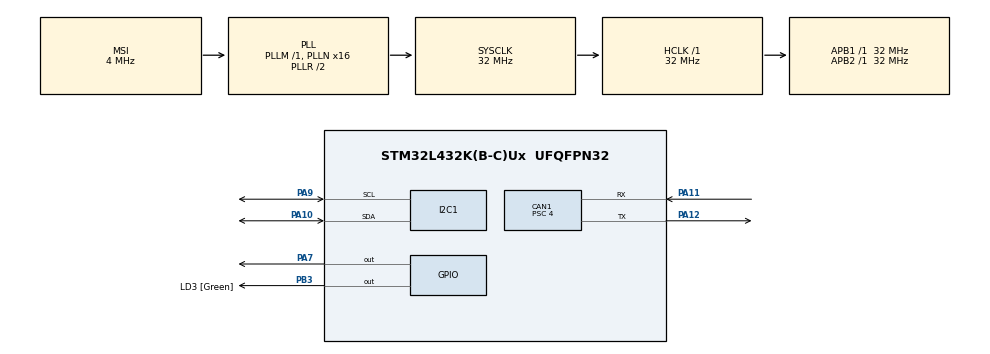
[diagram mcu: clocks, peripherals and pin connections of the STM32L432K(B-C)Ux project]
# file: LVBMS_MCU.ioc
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CAN1.ABOM=ENABLE
CAN1.AWUM=ENABLE
CAN1.BS1=CAN_BS1_13TQ
CAN1.BS2=CAN_BS2_2TQ
CAN1.CalculateBaudRate=500000
CAN1.CalculateTimeBit=2000
CAN1.CalculateTimeQuantum=125.0
CAN1.Mode=CAN_MODE_NORMAL
CAN1.NART=DISABLE
CAN1.Prescaler=4
FREERTOS.Tasks01=defaultTask,8,128,StartDefaultTask,Default,NULL,Dynamic,NULL,NULL
I2C1.Timing=0x00B07CB4
Mcu.Family=STM32L4
Mcu.Name=STM32L432K(B-C)Ux
Mcu.Package=UFQFPN32
NVIC.CAN1_RX0_IRQn=true\:5\:0\:false\:false\:true\:true\:true\:true\:true
NVIC.CAN1_SCE_IRQn=true\:5\:0\:false\:false\:true\:true\:true\:true\:true
NVIC.PriorityGroup=NVIC_PRIORITYGROUP_4
NVIC.TIM1_UP_TIM16_IRQn=true\:15\:0\:false\:false\:true\:false\:false\:true\:true
NVIC.TimeBase=TIM1_UP_TIM16_IRQn
NVIC.TimeBaseIP=TIM1
PA10.Mode=I2C
PA10.Signal=I2C1_SDA
PA11.Mode=CAN_Activate
PA11.Signal=CAN1_RX
PA12.Mode=CAN_Activate
PA12.Signal=CAN1_TX
PA13\ (JTMS-SWDIO).GPIO_Label=SWDIO
PA13\ (JTMS-SWDIO).Signal=SYS_JTMS-SWDIO
PA14\ (JTCK-SWCLK).GPIO_Label=SWCLK
PA14\ (JTCK-SWCLK).Signal=SYS_JTCK-SWCLK
PA15\ (JTDI).GPIO_Label=VCP_RX
PA15\ (JTDI).Signal=USART2_RX
PA2.GPIO_Label=VCP_TX
PA2.Signal=USART2_TX
PA7.Signal=GPIO_Output
PA9.Mode=I2C
PA9.Signal=I2C1_SCL
PB3\ (JTDO-TRACESWO).GPIO_Label=LD3 [Green]
PB3\ (JTDO-TRACESWO).Signal=GPIO_Output
ProjectManager.HeapSize=0x200
ProjectManager.StackSize=0x400
ProjectManager.TargetToolchain=Makefile
RCC.AHBFreq_Value=32000000
RCC.APB1Freq_Value=32000000
RCC.APB1TimFreq_Value=32000000
RCC.APB2Freq_Value=32000000
RCC.APB2TimFreq_Value=32000000
RCC.CortexFreq_Value=32000000
RCC.HCLKFreq_Value=32000000
RCC.HSE_VALUE=8000000
RCC.HSI16_VALUE=16000000
RCC.HSI48_VALUE=48000000
RCC.HSI_VALUE=16000000
RCC.LSE_VALUE=32768
RCC.MSI_VALUE=4000000
RCC.PLLMUL=RCC_PLLMUL_4
RCC.PLLN=16
RCC.SYSCLKFreq_VALUE=32000000
RCC.SYSCLKSource=RCC_SYSCLKSOURCE_PLLCLK
RCC.VCOOutputFreq_Value=64000000
VP_FREERTOS_VS_CMSIS_V2.Mode=CMSIS_V2
VP_SYS_VS_tim1.Mode=TIM1
board=NUCLEO-L432KC

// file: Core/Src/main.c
/* USER CODE BEGIN Header */
/**
  ******************************************************************************
  * @file           : main.c
  * @brief          : Main program body
  ******************************************************************************
  * @attention
  *
  * Copyright (c) 2024 STMicroelectronics.
  * All rights reserved.
  *
  * This software is licensed under terms that can be found in the LICENSE file
  * in the root directory of this software component.
  * If no LICENSE file comes with this software, it is provided AS-IS.
  *
  ******************************************************************************
  */
/* USER CODE END Header */
#include "main.h"
#include "can.h"
#include "cmsis_os.h"
#include "i2c.h"

/* USER CODE BEGIN Includes */
#include "BQ76905.h"
#include "custom_tasks.h"
#include "gpio.h"
#include "task.h"
/* USER CODE END Includes */

/* USER CODE BEGIN PV */
SemaphoreHandle_t i2cMutexHandle;
/* USER CODE END PV */

void SystemClock_Config(void);
void MX_FREERTOS_Init(void);
/* USER CODE BEGIN PFP */
void Unseal(void);
/* USER CODE END PFP */

int main(void)
{
  /* MCU Configuration--------------------------------------------------------*/

  /* Reset of all peripherals, Initializes the Flash interface and the Systick. */
  HAL_Init();

  /* Configure the system clock */
  SystemClock_Config();

  /* Initialize all configured peripherals */
  MX_GPIO_Init();
  MX_CAN1_Init();
  MX_I2C1_Init();

  /* USER CODE BEGIN 1 */
  i2cMutexHandle = xSemaphoreCreateMutex();

  canInit(CAN_TX_QUEUE_SIZE, CAN_RX_QUEUE_SIZE);

  Unseal();

  /********************* CHANGING DEVICE CONFIGURATION (TRM 63) *********************/

  // Command_Subcommand(BQ76905_RESET);

  BQ7690x_Disable_FETS;

  // enable cfg update
  Command_Subcommand(SET_CFGUPDATE);

  // disable ts pin as external termistor
  Subcommand_Write(DAConfig, 0b10000000);

  // TODO:
  // Body Diode Threshold

  // 1/8 speed measurements while balancing
  // auto enters sleep when current < 64mA, config "Sleep Current"
  Subcommand_Write(PowerConfig, 0b00110001);

  // default is tuned for 1 milli Ohm
  // we are using a 25 milli Ohm sens resistor
  Subcommand_Write2(CC1Gain, 10);
  // Subcommand_Write2(CurrOffset, 0x100);

  // enables manual and autonomous control, and series fets
  Subcommand_Write(FETOptions, 0b01111100);

  /*
   * protections handled autonomously by the bq76905 chip
   * - overvoltage
   * - undervoltage (at least for SHUTDOWN_CELL_VOLTAGE),
   * - short circuit in dsg
   * - overcurrent in chg
   */
  Subcommand_Write(EnabledProtectionsA, 0b11100100);

  // dont care too much (only while charging)
  Subcommand_Write2(CellOvervoltageProtectionThreshold, MAX_CELL_VOLTAGE);
  Subcommand_Write(CellOvervoltageProtectionDelay, 0); // delay to upgrade alert to fault

  // shutoff asap
  // MIN_CELL_VOLTAGE used to handle a slightly more graceful shutdown
  Subcommand_Write2(CellUndervoltageProtectionThreshold, SHUTDOWN_CELL_VOLTAGE);
  Subcommand_Write(CellUndervoltageProtectionDelay, 0); // delay to upgrade alert to fault

  Subcommand_Write(OvercurrentinChargeProtectionThreshold, 62 /*2mV*/);
  Subcommand_Write(OvercurrentinChargeProtectionDelay, 0); // delay to upgrade alert to fault

  // TODO: change threshold
  Subcommand_Write(ShortCircuitinDischargeProtectionThreshold, 0x09); // table look up, TRM 38
  Subcommand_Write(ShortCircuitinDischargeProtectionDelay, 0);        // needs to be instant

  // ? our cells can handle 150 Amps, so we don't need OCD
  // Subcommand_Write(OvercurrentinDischarge1ProtectionThreshold,20/*mV*/);
  // Subcommand_Write(OvercurrentinDischarge1ProtectionDelay, 1); // delay to upgrade alert to fault
  //
  // Subcommand_Write(OvercurrentinDischarge2ProtectionThreshold,20/*mV*/);
  // Subcommand_Write(OvercurrentinDischarge2ProtectionDelay, 1); // delay to upgrade alert to fault

  // TODO: do we want to latch (disable until reset) the fets after a certain number of attempts??
  // Subcommand_Write(LatchLimit, 0b000);

  // set delay between balancing shutoff and measurements and allow cell balancing (trm 99)
  Subcommand_Write(BalancingConfiguration, 0b1110);

  // disable cfg update
  Command_Subcommand(EXIT_CFGUPDATE);

  BaseType_t task1 = xTaskCreate(FETControlTask,
                                 "FETControlTask",
                                 configMINIMAL_STACK_SIZE,
                                 NULL,
                                 PRIORITY_MEDIUM,
                                 NULL);
  BaseType_t task2 = xTaskCreate(CanTask,
                                 "CanTask",
                                 configMINIMAL_STACK_SIZE,
                                 NULL,
                                 PRIORITY_MEDIUM,
                                 NULL);
  BaseType_t task3 = xTaskCreate(CellBalancingTask,
                                 "CellBalancingTask",
                                 configMINIMAL_STACK_SIZE,
                                 NULL,
                                 PRIORITY_MEDIUM,
                                 NULL);

  if (task1 == pdPASS && task2 == pdPASS && task3 == pdPASS)
  {
    /* Init scheduler */
    vTaskStartScheduler();
  }

  /* USER CODE END 1 */

  /* We should never get here as control is now taken by the scheduler */

  /* Infinite loop */
  while (1)
  {
  }
}

void SystemClock_Config(void)
{
  RCC_OscInitTypeDef RCC_OscInitStruct = {0};
  RCC_ClkInitTypeDef RCC_ClkInitStruct = {0};

  /** Configure the main internal regulator output voltage
  */
  if (HAL_PWREx_ControlVoltageScaling(PWR_REGULATOR_VOLTAGE_SCALE1) != HAL_OK)
  {
    Error_Handler();
  }

  /** Initializes the RCC Oscillators according to the specified parameters
  * in the RCC_OscInitTypeDef structure.
  */
  RCC_OscInitStruct.OscillatorType = RCC_OSCILLATORTYPE_MSI;
  RCC_OscInitStruct.MSIState = RCC_MSI_ON;
  RCC_OscInitStruct.MSICalibrationValue = 0;
  RCC_OscInitStruct.MSIClockRange = RCC_MSIRANGE_6;
  RCC_OscInitStruct.PLL.PLLState = RCC_PLL_ON;
  RCC_OscInitStruct.PLL.PLLSource = RCC_PLLSOURCE_MSI;
  RCC_OscInitStruct.PLL.PLLM = 1;
  RCC_OscInitStruct.PLL.PLLN = 16;
  RCC_OscInitStruct.PLL.PLLP = RCC_PLLP_DIV7;
  RCC_OscInitStruct.PLL.PLLQ = RCC_PLLQ_DIV2;
  RCC_OscInitStruct.PLL.PLLR = RCC_PLLR_DIV2;
  if (HAL_RCC_OscConfig(&RCC_OscInitStruct) != HAL_OK)
  {
    Error_Handler();
  }

  /** Initializes the CPU, AHB and APB buses clocks
  */
  RCC_ClkInitStruct.ClockType = RCC_CLOCKTYPE_HCLK | RCC_CLOCKTYPE_SYSCLK | RCC_CLOCKTYPE_PCLK1 |
                                RCC_CLOCKTYPE_PCLK2;
  RCC_ClkInitStruct.SYSCLKSource = RCC_SYSCLKSOURCE_PLLCLK;
  RCC_ClkInitStruct.AHBCLKDivider = RCC_SYSCLK_DIV1;
  RCC_ClkInitStruct.APB1CLKDivider = RCC_HCLK_DIV1;
  RCC_ClkInitStruct.APB2CLKDivider = RCC_HCLK_DIV1;

  if (HAL_RCC_ClockConfig(&RCC_ClkInitStruct, FLASH_LATENCY_1) != HAL_OK)
  {
    Error_Handler();
  }
}

/* USER CODE BEGIN 4 */

/**
  * Switch from SEALED to FULL-ACCESS (trm 17 and 51)
  * 1) Read battery status register to see if switch is necessary
  * 2) Write keys to correct register using subcommand (must be in little endian)
  **/
void Unseal()
{
  //************ DON'T CHANGE ************
  // key1 = 0x0414, key2 = 0x3672 (trm 117)
  const uint8_t KEY_1[2] = {0x14, 0x04};
  const uint8_t KEY_2[2] = {0x72, 0x36};
  //**************************************
  I2C_Write(0x3e, KEY_1, 2);
  I2C_Write(0x3e, KEY_2, 2);
}

/* USER CODE END 4 */

void HAL_TIM_PeriodElapsedCallback(TIM_HandleTypeDef *htim)
{
  if (htim->Instance == TIM1)
  {
    HAL_IncTick();
  }
}

void Error_Handler(void)
{
  __disable_irq();
  while (1)
  {
  }
}

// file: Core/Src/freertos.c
/* USER CODE BEGIN Header */
/**
  ******************************************************************************
  * File Name          : freertos.c
  * Description        : Code for freertos applications
  ******************************************************************************
  * @attention
  *
  * Copyright (c) 2024 STMicroelectronics.
  * All rights reserved.
  *
  * This software is licensed under terms that can be found in the LICENSE file
  * in the root directory of this software component.
  * If no LICENSE file comes with this software, it is provided AS-IS.
  *
  ******************************************************************************
  */
/* USER CODE END Header */

#include "FreeRTOS.h"
#include "cmsis_os.h"
#include "main.h"
#include "task.h"

/* Definitions for defaultTask */
osThreadId_t defaultTaskHandle;
const osThreadAttr_t defaultTask_attributes = {
    .name = "defaultTask",
    .stack_size = 128 * 4,
    .priority = (osPriority_t)osPriorityLow,
};

void StartDefaultTask(void *argument);

void MX_FREERTOS_Init(void); /* (MISRA C 2004 rule 8.1) */

void MX_FREERTOS_Init(void)
{

  /* Create the thread(s) */
  /* creation of defaultTask */
  defaultTaskHandle = osThreadNew(StartDefaultTask, NULL, &defaultTask_attributes);

}

void StartDefaultTask(void *argument)
{
  for (;;)
  {
    osDelay(1);
  }
}
